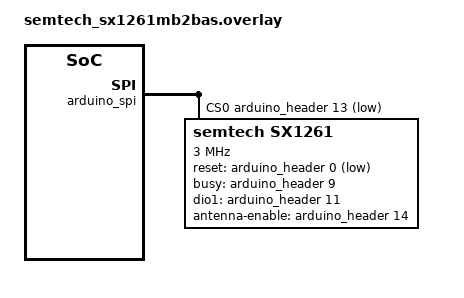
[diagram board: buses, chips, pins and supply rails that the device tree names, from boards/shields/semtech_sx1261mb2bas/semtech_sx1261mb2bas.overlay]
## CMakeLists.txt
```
# SPDX-License-Identifier: Apache-2.0

cmake_minimum_required(VERSION 3.20.0)

find_package(Zephyr REQUIRED HINTS $ENV{ZEPHYR_BASE})
project(lorawan)

FILE(GLOB app_sources src/*.c)
target_sources(app PRIVATE ${app_sources})


# Add include directory for board specific CAF def files
zephyr_include_directories(
  configuration/${BOARD}
  configuration/default
  src/modules
  )

target_sources(app PRIVATE src/modules/module_lorawan.c)
```

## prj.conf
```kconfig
# Debug
CONFIG_DEBUG_THREAD_INFO=y
CONFIG_DEBUG_OPTIMIZATIONS=y

# System
CONFIG_LOG=y
CONFIG_HWINFO=y
CONFIG_HEAP_MEM_POOL_SIZE=4096
CONFIG_MAIN_STACK_SIZE=2048
CONFIG_SYSTEM_WORKQUEUE_STACK_SIZE=2048

# Settings
CONFIG_FLASH=y
CONFIG_NVS=y
CONFIG_FLASH_MAP=y
CONFIG_SETTINGS=y

# CAF
CONFIG_CAF=y

# SHELL
CONFIG_SHELL=y
CONFIG_SETTINGS_SHELL=y

# LoRa
CONFIG_SPI=y
CONFIG_GPIO=y
CONFIG_LORA=y
CONFIG_LORA_SX12XX=y
CONFIG_LORAWAN=y
CONFIG_LORAMAC_REGION_EU868=y
# Switch to NVM NONE, we only support OTAA.
CONFIG_LORAWAN_NVM_NONE=y
CONFIG_LORAWAN_NVM_SETTINGS=n
```

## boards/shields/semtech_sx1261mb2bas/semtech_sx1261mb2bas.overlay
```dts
/*
 * Copyright (c) 2022 Addiva Elektronik AB
 * Copyright (c) 2020 Lemonbeat GmbH (semtech_sx1272mb2das)
 *
 * SPDX-License-Identifier: Apache-2.0
 */

 /* Module pinout
  *	SCK		D13 (arduino spi)
  * MOSI	D11 (arduino spi)
  * MISO	D12 (arduino spi)
  * NSS		D7
  * BUSY	D3
  * DIO1	D5
  * ANT_SW	D8
  * NRESET	A0
  */

/ {
	aliases {
		lora0 = &lora;
	};
};

&arduino_spi {
	status = "okay";

	cs-gpios = <&arduino_header 13 GPIO_ACTIVE_LOW>;	/* D7 */

	lora: sx1261@0 {
		compatible = "semtech,sx1261";
		reg = <0x0>;
		label = "sx1261";
		spi-max-frequency = <3000000>;

		reset-gpios = <&arduino_header 0 GPIO_ACTIVE_LOW>;   /* A0 */

		busy-gpios = <&arduino_header 9 (GPIO_PULL_DOWN | GPIO_ACTIVE_HIGH)>;   /* D3 */
		dio1-gpios = <&arduino_header 11 (GPIO_PULL_DOWN | GPIO_ACTIVE_HIGH)>;	   /* D5 */

		antenna-enable-gpios = <&arduino_header 14 (GPIO_PULL_DOWN | GPIO_ACTIVE_HIGH)>;	   /* D8 */
	};
};
```

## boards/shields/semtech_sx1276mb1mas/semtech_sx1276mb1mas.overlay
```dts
/*
 * Copyright (c) 2022 Addiva Elektronik AB
 * Copyright (c) 2020 Lemonbeat GmbH (semtech_sx1272mb2das)
 *
 * SPDX-License-Identifier: Apache-2.0
 */

 /* Module pinout
  *	SCK		D13
  * MOSI	D11
  * MISO	D12
  * NSS		D10
  * DIO0	D2
  * DIO1	D3
  * DIO2	D4
  * DIO3	D5
  * DIO4a	D8
  * DIO4b	A3
  * DIO5	D9
  * RxTx	A4  (if R16 is mounted instead of R15)
  * NRESET	A0
  */

/ {
	aliases {
		lora0 = &lora;
	};
};

&arduino_spi {
	status = "okay";

	cs-gpios = <&arduino_header 16 GPIO_ACTIVE_LOW>;	/* D10 */

	lora: sx1276@0 {
		compatible = "semtech,sx1276";
		reg = <0x0>;
		label = "sx1276";
		spi-max-frequency = <3000000>;

		reset-gpios = <&arduino_header 0 GPIO_ACTIVE_LOW>;   /* A0 */

		dio-gpios = <&arduino_header 8 (GPIO_PULL_DOWN | GPIO_ACTIVE_HIGH)>,	   /* DIO0 is D2 */
		            <&arduino_header 9 (GPIO_PULL_DOWN | GPIO_ACTIVE_HIGH)>,	   /* DIO1 is D3 */
			    	<&arduino_header 10 (GPIO_PULL_DOWN | GPIO_ACTIVE_HIGH)>,	   /* DIO2 is D4 */
			    	<&arduino_header 11 (GPIO_PULL_DOWN | GPIO_ACTIVE_HIGH)>,	   /* DIO3 is D5 */
			    	<&arduino_header 14 (GPIO_PULL_DOWN | GPIO_ACTIVE_HIGH)>,	   /* DIO3 is D8 */
			    	<&arduino_header 15 (GPIO_PULL_DOWN | GPIO_ACTIVE_HIGH)>;	   /* DIO3 is D9 */

		power-amplifier-output = "rfo";
	};
};
```

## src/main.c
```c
/*
 * Copyright (c) 2022 Addiva Elektronik AB
 *
 * SPDX-License-Identifier: Apache-2.0
 */

#define MODULE main

#include <zephyr/zephyr.h>
#include <app_event_manager.h>
#include <caf/events/module_state_event.h>
#include <zephyr/logging/log.h>
#include <zephyr/settings/settings.h>
#include <zephyr/shell/shell.h>

LOG_MODULE_REGISTER(MODULE);

void main(void)
{
	LOG_INF("Starting");


	// Initialize system services, storage, settings etc.
	settings_subsys_init();
	settings_load();

	// Start CAF and signal that main have completed the system setup
	if (app_event_manager_init()) {
		LOG_ERR("Application Event Manager not initialized");
	} else {
		module_set_state(MODULE_STATE_READY);
	}

	LOG_INF("Done");
}

// settings shell is missing a reload command to load new settings
// after written
static int cmd_reload(const struct shell *shell, size_t argc,
                         char **argv)
{
	LOG_INF("Reloading settings");
	settings_load();
	return 0;
}

SHELL_CMD_REGISTER(reload, NULL, "Reload settings", cmd_reload);
```
